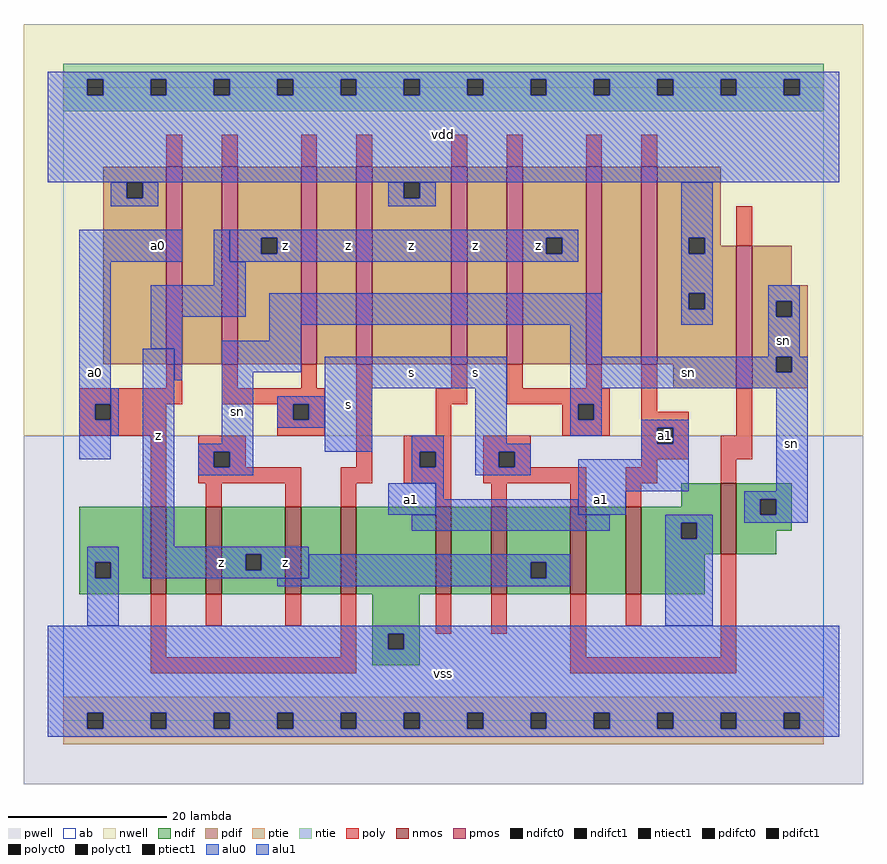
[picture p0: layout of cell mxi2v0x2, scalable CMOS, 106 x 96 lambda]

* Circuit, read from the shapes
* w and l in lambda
.subckt mxi2v0x2 a0 a1 s sn vdd vss z
M1 n1 a0 vss vss nfet w=11 l=2
M2 z sn n1 vss nfet w=11 l=2
M3 n2 sn z vss nfet w=11 l=2
M4 vss a0 n2 vss nfet w=11 l=2
M5 n3 a1 vss vss nfet w=11 l=2
M6 z s n3 vss nfet w=11 l=2
M7 n4 s z vss nfet w=11 l=2
M8 vss a1 n4 vss nfet w=11 l=2
M9 sn s vss vss nfet w=9 l=2
M10 n5 a0 vdd vdd pfet w=25 l=2
M11 z s n5 vdd pfet w=25 l=2
M12 n6 s z vdd pfet w=25 l=2
M13 vdd a0 n6 vdd pfet w=25 l=2
M14 n7 a1 vdd vdd pfet w=25 l=2
M15 z sn n7 vdd pfet w=25 l=2
M16 n8 sn z vdd pfet w=25 l=2
M17 vdd a1 n8 vdd pfet w=25 l=2
M18 sn s vdd vdd pfet w=18 l=2
.ends

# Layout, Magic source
magic
tech scmos
<< ab >>
rect 0 0 96 80
<< nwell >>
rect -5 36 101 88
<< pwell >>
rect -5 -8 101 36
<< poly >>
rect 13 70 15 74
rect 20 70 22 74
rect 30 70 32 74
rect 37 70 39 74
rect 49 70 51 74
rect 56 70 58 74
rect 66 70 68 74
rect 73 70 75 74
rect 85 60 87 65
rect 13 42 15 45
rect 2 40 15 42
rect 20 42 22 45
rect 30 42 32 45
rect 20 40 33 42
rect 2 38 4 40
rect 6 38 13 40
rect 2 36 13 38
rect 27 38 29 40
rect 31 38 33 40
rect 27 36 33 38
rect 11 27 13 36
rect 17 34 23 36
rect 17 32 19 34
rect 21 32 23 34
rect 37 32 39 45
rect 49 42 51 45
rect 47 40 51 42
rect 56 42 58 45
rect 66 42 68 45
rect 56 40 69 42
rect 47 36 49 40
rect 63 38 65 40
rect 67 38 69 40
rect 63 36 69 38
rect 73 39 75 45
rect 73 37 79 39
rect 17 30 30 32
rect 18 27 20 30
rect 28 27 30 30
rect 35 30 39 32
rect 43 34 49 36
rect 43 32 45 34
rect 47 32 49 34
rect 43 30 49 32
rect 53 34 59 36
rect 53 32 55 34
rect 57 32 59 34
rect 73 35 75 37
rect 77 35 79 37
rect 85 36 87 42
rect 73 33 79 35
rect 83 33 87 36
rect 73 32 75 33
rect 53 30 66 32
rect 35 27 37 30
rect 47 27 49 30
rect 54 27 56 30
rect 64 27 66 30
rect 71 30 75 32
rect 83 30 85 33
rect 71 27 73 30
rect 11 8 13 16
rect 18 12 20 16
rect 28 12 30 16
rect 35 8 37 16
rect 11 6 37 8
rect 47 11 49 16
rect 54 11 56 16
rect 64 8 66 16
rect 71 12 73 16
rect 83 8 85 21
rect 64 6 85 8
<< ndif >>
rect 78 27 83 30
rect 2 20 11 27
rect 2 18 4 20
rect 6 18 11 20
rect 2 16 11 18
rect 13 16 18 27
rect 20 21 28 27
rect 20 19 23 21
rect 25 19 28 21
rect 20 16 28 19
rect 30 16 35 27
rect 37 16 47 27
rect 49 16 54 27
rect 56 20 64 27
rect 56 18 59 20
rect 61 18 64 20
rect 56 16 64 18
rect 66 16 71 27
rect 73 25 83 27
rect 73 23 78 25
rect 80 23 83 25
rect 73 21 83 23
rect 85 28 92 30
rect 85 26 88 28
rect 90 26 92 28
rect 85 24 92 26
rect 85 21 90 24
rect 73 16 81 21
rect 39 11 45 16
rect 39 9 41 11
rect 43 9 45 11
rect 39 7 45 9
<< pdif >>
rect 5 68 13 70
rect 5 66 8 68
rect 10 66 13 68
rect 5 45 13 66
rect 15 45 20 70
rect 22 61 30 70
rect 22 59 25 61
rect 27 59 30 61
rect 22 45 30 59
rect 32 45 37 70
rect 39 68 49 70
rect 39 66 43 68
rect 45 66 49 68
rect 39 45 49 66
rect 51 45 56 70
rect 58 61 66 70
rect 58 59 61 61
rect 63 59 66 61
rect 58 45 66 59
rect 68 45 73 70
rect 75 61 83 70
rect 75 59 79 61
rect 81 60 83 61
rect 81 59 85 60
rect 75 54 85 59
rect 75 52 79 54
rect 81 52 85 54
rect 75 45 85 52
rect 77 42 85 45
rect 87 55 92 60
rect 87 53 94 55
rect 87 51 90 53
rect 92 51 94 53
rect 87 46 94 51
rect 87 44 90 46
rect 92 44 94 46
rect 87 42 94 44
<< alu1 >>
rect -2 81 98 82
rect -2 79 3 81
rect 5 79 11 81
rect 13 79 19 81
rect 21 79 27 81
rect 29 79 35 81
rect 37 79 43 81
rect 45 79 51 81
rect 53 79 59 81
rect 61 79 67 81
rect 69 79 75 81
rect 77 79 83 81
rect 85 79 91 81
rect 93 79 98 81
rect -2 68 98 79
rect 2 58 15 62
rect 21 61 65 62
rect 21 59 25 61
rect 27 59 61 61
rect 63 59 65 61
rect 21 58 65 59
rect 2 40 6 58
rect 2 38 4 40
rect 2 33 6 38
rect 10 22 14 47
rect 33 42 56 46
rect 33 34 39 42
rect 52 35 56 42
rect 73 37 79 38
rect 73 35 75 37
rect 77 35 79 37
rect 52 34 59 35
rect 52 32 55 34
rect 57 32 59 34
rect 73 33 79 35
rect 52 31 59 32
rect 41 26 47 30
rect 65 29 79 33
rect 65 26 71 29
rect 10 21 31 22
rect 10 19 23 21
rect 25 19 31 21
rect 10 18 31 19
rect -2 11 98 12
rect -2 9 41 11
rect 43 9 98 11
rect -2 1 98 9
rect -2 -1 3 1
rect 5 -1 11 1
rect 13 -1 19 1
rect 21 -1 27 1
rect 29 -1 35 1
rect 37 -1 43 1
rect 45 -1 51 1
rect 53 -1 59 1
rect 61 -1 67 1
rect 69 -1 75 1
rect 77 -1 83 1
rect 85 -1 91 1
rect 93 -1 98 1
rect -2 -2 98 -1
<< ptie >>
rect 0 1 96 3
rect 0 -1 3 1
rect 5 -1 11 1
rect 13 -1 19 1
rect 21 -1 27 1
rect 29 -1 35 1
rect 37 -1 43 1
rect 45 -1 51 1
rect 53 -1 59 1
rect 61 -1 67 1
rect 69 -1 75 1
rect 77 -1 83 1
rect 85 -1 91 1
rect 93 -1 96 1
rect 0 -3 96 -1
<< ntie >>
rect 0 81 96 83
rect 0 79 3 81
rect 5 79 11 81
rect 13 79 19 81
rect 21 79 27 81
rect 29 79 35 81
rect 37 79 43 81
rect 45 79 51 81
rect 53 79 59 81
rect 61 79 67 81
rect 69 79 75 81
rect 77 79 83 81
rect 85 79 91 81
rect 93 79 96 81
rect 0 77 96 79
<< nmos >>
rect 11 16 13 27
rect 18 16 20 27
rect 28 16 30 27
rect 35 16 37 27
rect 47 16 49 27
rect 54 16 56 27
rect 64 16 66 27
rect 71 16 73 27
rect 83 21 85 30
<< pmos >>
rect 13 45 15 70
rect 20 45 22 70
rect 30 45 32 70
rect 37 45 39 70
rect 49 45 51 70
rect 56 45 58 70
rect 66 45 68 70
rect 73 45 75 70
rect 85 42 87 60
<< polyct0 >>
rect 29 38 31 40
rect 19 32 21 34
rect 65 38 67 40
rect 45 32 47 34
<< polyct1 >>
rect 4 38 6 40
rect 55 32 57 34
rect 75 35 77 37
<< ndifct0 >>
rect 4 18 6 20
rect 59 18 61 20
rect 78 23 80 25
rect 88 26 90 28
<< ndifct1 >>
rect 23 19 25 21
rect 41 9 43 11
<< ntiect1 >>
rect 3 79 5 81
rect 11 79 13 81
rect 19 79 21 81
rect 27 79 29 81
rect 35 79 37 81
rect 43 79 45 81
rect 51 79 53 81
rect 59 79 61 81
rect 67 79 69 81
rect 75 79 77 81
rect 83 79 85 81
rect 91 79 93 81
<< ptiect1 >>
rect 3 -1 5 1
rect 11 -1 13 1
rect 19 -1 21 1
rect 27 -1 29 1
rect 35 -1 37 1
rect 43 -1 45 1
rect 51 -1 53 1
rect 59 -1 61 1
rect 67 -1 69 1
rect 75 -1 77 1
rect 83 -1 85 1
rect 91 -1 93 1
<< pdifct0 >>
rect 8 66 10 68
rect 43 66 45 68
rect 79 59 81 61
rect 79 52 81 54
rect 90 51 92 53
rect 90 44 92 46
<< pdifct1 >>
rect 25 59 27 61
rect 61 59 63 61
<< alu0 >>
rect 6 66 8 68
rect 10 66 12 68
rect 6 65 12 66
rect 41 66 43 68
rect 45 66 47 68
rect 41 65 47 66
rect 19 58 21 62
rect 78 61 82 68
rect 78 59 79 61
rect 81 59 82 61
rect 19 55 23 58
rect 11 51 23 55
rect 78 54 82 59
rect 11 47 15 51
rect 26 50 68 54
rect 78 52 79 54
rect 81 52 82 54
rect 78 50 82 52
rect 89 53 93 55
rect 89 51 90 53
rect 92 51 93 53
rect 26 48 30 50
rect 6 36 7 42
rect 14 43 15 47
rect 20 44 30 48
rect 64 46 68 50
rect 89 46 93 51
rect 20 35 24 44
rect 27 40 33 41
rect 27 38 29 40
rect 31 38 33 40
rect 27 37 33 38
rect 17 34 24 35
rect 44 34 48 36
rect 17 32 19 34
rect 21 32 24 34
rect 17 31 24 32
rect 44 32 45 34
rect 47 32 48 34
rect 44 30 48 32
rect 64 44 90 46
rect 92 44 94 46
rect 64 42 94 44
rect 64 40 68 42
rect 64 38 65 40
rect 67 38 68 40
rect 64 36 68 38
rect 47 28 48 30
rect 90 29 94 42
rect 47 26 65 28
rect 86 28 94 29
rect 86 26 88 28
rect 90 26 94 28
rect 44 24 69 26
rect 76 25 82 26
rect 86 25 94 26
rect 76 23 78 25
rect 80 23 82 25
rect 3 20 7 22
rect 3 18 4 20
rect 6 18 7 20
rect 31 20 64 21
rect 31 18 59 20
rect 61 18 64 20
rect 3 12 7 18
rect 27 17 64 18
rect 76 12 82 23
<< labels >>
rlabel alu0 22 39 22 39 6 sn
rlabel alu0 91 48 91 48 6 sn
rlabel alu0 92 35 92 35 6 sn
rlabel alu0 79 44 79 44 6 sn
rlabel alu1 20 20 20 20 6 z
rlabel alu1 12 36 12 36 6 z
rlabel alu1 4 44 4 44 6 a0
rlabel alu1 12 60 12 60 6 a0
rlabel alu1 28 20 28 20 6 z
rlabel alu1 44 28 44 28 6 a1
rlabel alu1 36 40 36 40 6 s
rlabel alu1 44 44 44 44 6 s
rlabel alu1 28 60 28 60 6 z
rlabel alu1 36 60 36 60 6 z
rlabel alu1 44 60 44 60 6 z
rlabel alu1 48 6 48 6 6 vss
rlabel alu1 68 28 68 28 6 a1
rlabel alu1 52 44 52 44 6 s
rlabel alu1 60 60 60 60 6 z
rlabel alu1 52 60 52 60 6 z
rlabel alu1 48 74 48 74 6 vdd
rlabel polyct1 76 36 76 36 6 a1
<< end >>
